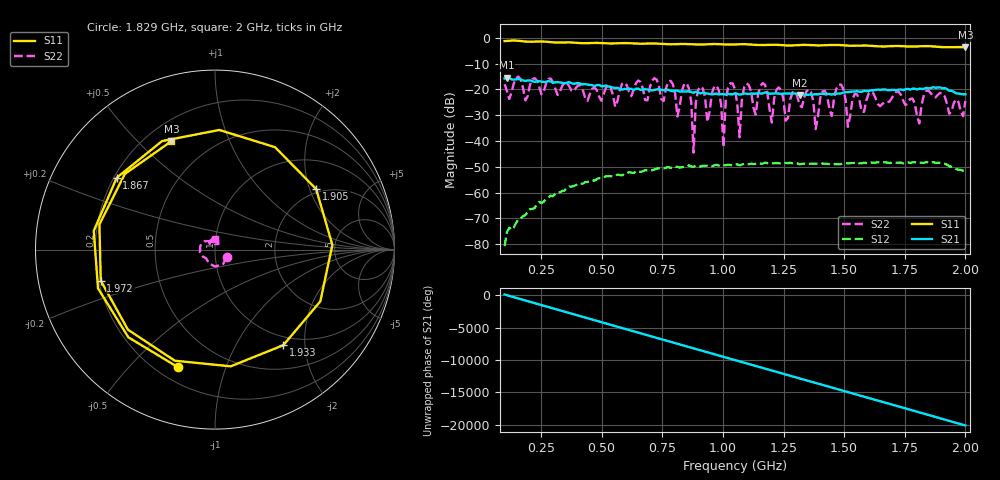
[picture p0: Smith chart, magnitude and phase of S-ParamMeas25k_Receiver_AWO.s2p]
!Keysight Technologies,N5242B,MY48420967,A.15.65.19
!Date: Saturday, February 04, 2023 01:51:09
!Correction: S11(C  1-Port  )
!S21(Off)
!S12(Off)
!S22(Off)
!S2P File: Measurements: S11, S21, S12, S22:
# Hz S  dB  R 50
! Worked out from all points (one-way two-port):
!   201 points, 100 MHz to 2 GHz, reference 50 ohm
!   highest |S21| = -15.48 dB at 109.5 MHz (marker M1); lowest = -22.2 dB at 1.316 GHz (marker M2)
!   lowest |S11| = -3.7 dB at 2 GHz (marker M3), VSWR 4.73, Z = 15.1 + j31.6 ohm
!   |S11| at or under -10 dB: nowhere
!   |S22| runs from -44.5 to -15.0 dB; largest |S21 - S12| = 0.17
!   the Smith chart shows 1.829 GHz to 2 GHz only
!   S11 on the Smith chart (normalised r, x): 1.829 GHz: 0.28, -0.69; 1.867 GHz: 0.21, +0.31; 1.905 GHz: 1.87, +2.22; 1.933 GHz: 0.86, -1.60; 1.972 GHz: 0.21, -0.13; 2 GHz: 0.30, +0.63
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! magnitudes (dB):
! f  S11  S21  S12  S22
! 100 MHz  -1.3  -15.8  -80.8  -18.0
! 109.5 MHz  -1.2  -15.5  -75.4  -20.6
! 423 MHz  -2.1  -18.1  -56.5  -20.4
! 736.5 MHz  -2.3  -20.0  -50.6  -18.8
! 850.5 MHz  -2.5  -20.8  -50.0  -17.7
! 879 MHz  -2.6  -21.3  -50.0  -44.5
! 907.5 MHz  -2.7  -21.6  -49.9  -18.9
! 983.5 MHz  -2.5  -22.0  -49.5  -20.5
! 1.002 GHz  -2.6  -21.9  -49.4  -42.5
! 1.022 GHz  -2.7  -21.7  -49.2  -19.3
! 1.05 GHz  -2.6  -21.6  -49.0  -19.9
! 1.069 GHz  -2.5  -22.1  -49.4  -38.6
! 1.097 GHz  -2.5  -21.7  -49.0  -17.7
! 1.316 GHz  -2.8  -22.2  -49.1  -26.0
! 1.373 GHz  -2.9  -22.0  -48.8  -24.7
! 1.687 GHz  -3.3  -20.4  -48.6  -24.8
! 1.829 GHz  -3.3  -19.9  -48.5  -22.2
! 1.867 GHz  -3.4  -19.2  -48.2  -22.8
! 1.905 GHz  -3.7  -19.6  -48.8  -21.4
! 1.933 GHz  -3.7  -20.5  -49.8  -29.5
! 1.972 GHz  -3.6  -21.6  -51.1  -24.9
! 2 GHz  -3.7  -21.9  -51.6  -24.5
